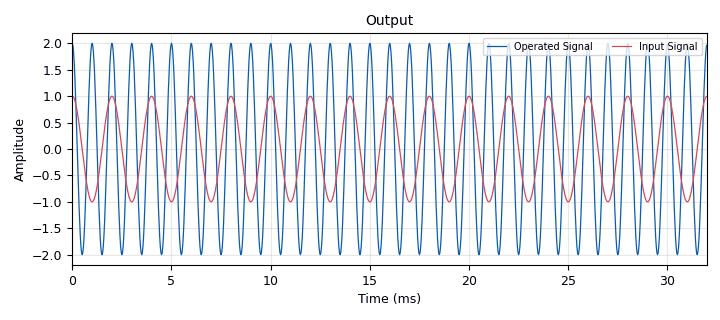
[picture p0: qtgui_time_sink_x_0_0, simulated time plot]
options:
  parameters:
    author: raksh
    generate_options: qt_gui
    id: SigGen2
    output_language: python
    title: Not titled yet
  states: {}

blocks:
- name: ChooseWaveform
  id: variable_qtgui_chooser
  parameters:
    label0: Addition of Signals
    label1: Multiplication of Signal
    label2: Amplitude Scaling
    label3: Time Scaling Compression
    label4: Time Scaling Expansion
    labels: '["Cosine", "Sine", "Step", "Sawtooth", "Ramp", "Exp", "Square", "Impulse", "Linear"]'
    num_opts: '5'
    option0: '0'
    option1: '1'
    option2: '2'
    option3: '3'
    option4: '4'
    options: '[0, 1, 2, 3, 4, 5, 6, 7]'
    orient: Qt.QHBoxLayout
    type: int
    value: '0'
    widget: radio_buttons
  states: {}
- name: samp_rate
  id: variable
  parameters:
    value: '32000'
  states: {}
- name: analog_sig_source_x_0
  id: analog_sig_source_x
  parameters:
    amp: '1'
    freq: '1000'
    offset: '0'
    phase: '0'
    samp_rate: samp_rate
    type: float
    waveform: analog.GR_COS_WAVE
  states: {}
- name: analog_sig_source_x_1
  id: analog_sig_source_x
  parameters:
    amp: '1'
    freq: '1000'
    offset: '0'
    phase: '0'
    samp_rate: samp_rate
    type: float
    waveform: analog.GR_COS_WAVE
  states: {}
- name: analog_sig_source_x_2_0
  id: analog_sig_source_x
  parameters:
    amp: '1'
    freq: '10000'
    offset: '0'
    phase: '0'
    samp_rate: samp_rate
    type: float
    waveform: analog.GR_COS_WAVE
  states: {}
- name: analog_sig_source_x_2_1
  id: analog_sig_source_x
  parameters:
    amp: '1'
    freq: '500'
    offset: '0'
    phase: '0'
    samp_rate: samp_rate
    type: float
    waveform: analog.GR_COS_WAVE
  states: {}
- name: blocks_add_xx_0
  id: blocks_add_xx
  parameters:
    type: float
  states: {}
- name: blocks_multiply_const_vxx_0
  id: blocks_multiply_const_vxx
  parameters:
    const: '5'
    type: float
  states: {}
- name: blocks_multiply_xx_0_0
  id: blocks_multiply_xx
  parameters:
    type: float
  states: {}
- name: blocks_selector_0
  id: blocks_selector
  parameters:
    enabled: 'True'
    input_index: ChooseWaveform
    num_inputs: '5'
    num_outputs: '1'
    output_index: '0'
    type: float
  states: {}
- name: blocks_throttle2_0_0
  id: blocks_throttle2
  parameters:
    samples_per_second: samp_rate
    type: float
  states: {}
- name: blocks_throttle2_0_0_0_0
  id: blocks_throttle2
  parameters:
    samples_per_second: samp_rate
    type: float
  states: {}
- name: blocks_throttle2_0_0_0_0_0
  id: blocks_throttle2
  parameters:
    samples_per_second: samp_rate
    type: float
  states: {}
- name: blocks_throttle2_0_0_0_0_1
  id: blocks_throttle2
  parameters:
    samples_per_second: samp_rate
    type: float
  states: {}
- name: blocks_throttle2_0_1
  id: blocks_throttle2
  parameters:
    samples_per_second: samp_rate
    type: float
  states: {}
- name: qtgui_time_sink_x_0_0
  id: qtgui_time_sink_x
  parameters:
    autoscale: 'True'
    label1: Operated Signal
    label2: Input Signal
    name: '"Output"'
    nconnections: '2'
    size: '1024'
    srate: samp_rate
    type: float
  states: {}

connections:
- [analog_sig_source_x_0, '0', blocks_add_xx_0, '0']
- [analog_sig_source_x_0, '0', blocks_multiply_xx_0_0, '0']
- [analog_sig_source_x_1, '0', blocks_add_xx_0, '1']
- [analog_sig_source_x_1, '0', blocks_multiply_const_vxx_0, '0']
- [analog_sig_source_x_1, '0', blocks_multiply_xx_0_0, '1']
- [analog_sig_source_x_2_0, '0', blocks_throttle2_0_0_0_0_0, '0']
- [analog_sig_source_x_2_1, '0', blocks_throttle2_0_0_0_0_1, '0']
- [blocks_add_xx_0, '0', blocks_throttle2_0_0, '0']
- [blocks_multiply_const_vxx_0, '0', blocks_throttle2_0_0_0_0, '0']
- [blocks_multiply_xx_0_0, '0', blocks_throttle2_0_1, '0']
- [blocks_selector_0, '0', qtgui_time_sink_x_0_0, '0']
- [blocks_throttle2_0_0, '0', blocks_selector_0, '0']
- [blocks_throttle2_0_0_0_0, '0', blocks_selector_0, '2']
- [blocks_throttle2_0_0_0_0_0, '0', blocks_selector_0, '3']
- [blocks_throttle2_0_0_0_0_1, '0', blocks_selector_0, '4']
- [blocks_throttle2_0_0_0_0_1, '0', qtgui_time_sink_x_0_0, '1']
- [blocks_throttle2_0_1, '0', blocks_selector_0, '1']

metadata:
  file_format: 1
  grc_version: 3.10.11.0
